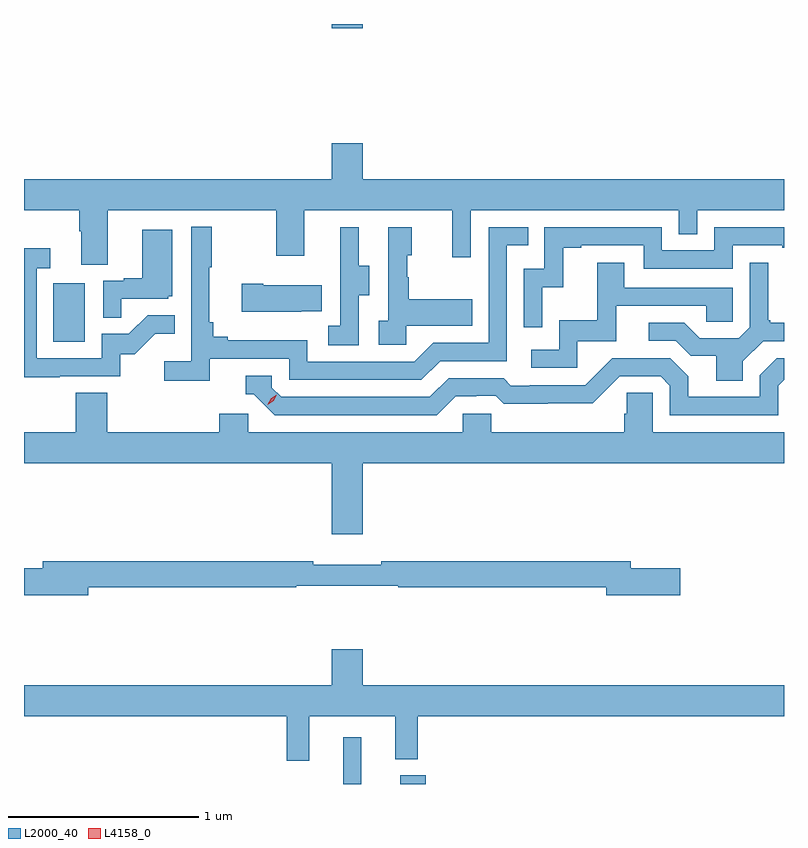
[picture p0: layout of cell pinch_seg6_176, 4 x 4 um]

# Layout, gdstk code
import gdstk
lib = gdstk.Library(unit=1e-6, precision=1e-09)
def R(c, l, rs):  # rectangles x0, y0, x1, y1
    for r in rs: c.add(gdstk.rectangle(r[:2], r[2:], *l))
def P(c, l, *ps):  # polygons
    for p in ps: c.add(gdstk.Polygon(p, *l))
L2000_40 = (2000, 40)
L4158_0 = (4158, 0)

pinch_seg6_176 = lib.new_cell('pinch_seg6_176')
R(pinch_seg6_176, L2000_40, [(1064.168,923.004,1064.265,923.251), (1064.468,923.004,1064.603,923.05), (1062.644,925.332,1062.808,925.639), (1064.108,926.982,1064.272,927.004)])
P(pinch_seg6_176, L2000_40, [(1062.931,926.024),(1063.816,926.024),(1063.816,925.785),(1063.963,925.785),(1063.963,926.024),(1064.744,926.024),(1064.744,925.776),(1064.841,925.776),(1064.841,926.024),(1065.936,926.024),(1065.936,925.897),(1066.032,925.897),(1066.032,926.024),(1066.489,926.024),(1066.489,926.188),(1064.272,926.188),(1064.272,926.377),(1064.108,926.377),(1064.108,926.188),(1062.489,926.188),(1062.489,926.024),(1062.779,926.024),(1062.779,925.912),(1062.791,925.912),(1062.791,925.738),(1062.931,925.738)],
  [(1063.466,925.242),(1063.884,925.242),(1063.884,925.131),(1064.581,925.131),(1064.68,925.23),(1065.03,925.23),(1065.03,925.839),(1065.143,925.839),(1065.143,925.935),(1064.934,925.935),(1064.934,925.326),(1064.643,925.326),(1064.544,925.227),(1063.98,925.227),(1063.98,925.339),(1063.561,925.339),(1063.561,925.358),(1063.484,925.358),(1063.484,925.435),(1063.465,925.435),(1063.465,925.723),(1063.477,925.723),(1063.477,925.936),(1063.368,925.936),(1063.368,925.228),(1063.227,925.228),(1063.227,925.126),(1063.466,925.126)],
  [(1065.216,925.619),(1065.326,925.619),(1065.326,925.827),(1065.421,925.827),(1065.421,925.839),(1065.75,925.839),(1065.75,925.716),(1066.218,925.716),(1066.218,925.839),(1066.481,925.839),(1066.481,925.827),(1066.489,925.827),(1066.489,925.935),(1066.122,925.935),(1066.122,925.812),(1065.846,925.812),(1065.846,925.935),(1065.228,925.935),(1065.228,925.716),(1065.12,925.716),(1065.12,925.407),(1065.216,925.407)],
  [(1064.25,925.576),(1064.305,925.576),(1064.305,925.731),(1064.251,925.731),(1064.251,925.933),(1064.153,925.933),(1064.153,925.719),(1064.154,925.719),(1064.154,925.415),(1064.091,925.415),(1064.091,925.312),(1064.25,925.312)],
  [(1064.502,925.415),(1064.849,925.415),(1064.849,925.555),(1064.515,925.555),(1064.515,925.67),(1064.505,925.67),(1064.505,925.788),(1064.53,925.788),(1064.53,925.933),(1064.406,925.933),(1064.406,925.442),(1064.355,925.442),(1064.355,925.317),(1064.502,925.317)],
  [(1063.001,925.557),(1063.248,925.557),(1063.248,925.572),(1063.27,925.572),(1063.27,925.921),(1063.112,925.921),(1063.112,925.666),(1063.013,925.666),(1063.013,925.653),(1062.906,925.653),(1062.906,925.459),(1063.001,925.459)],
  [(1062.677,925.149),(1062.996,925.149),(1062.996,925.266),(1063.072,925.266),(1063.179,925.373),(1063.283,925.373),(1063.283,925.472),(1063.139,925.472),(1063.041,925.374),(1062.897,925.374),(1062.897,925.245),(1062.555,925.245),(1062.555,925.719),(1062.628,925.719),(1062.628,925.825),(1062.489,925.825),(1062.489,925.144),(1062.677,925.144)],
  [(1066.273,925.228),(1066.38,925.335),(1066.489,925.335),(1066.489,925.432),(1066.417,925.432),(1066.417,925.444),(1066.405,925.444),(1066.405,925.747),(1066.308,925.747),(1066.308,925.407),(1066.251,925.35),(1066.045,925.35),(1065.964,925.431),(1065.777,925.431),(1065.777,925.338),(1065.918,925.338),(1065.998,925.258),(1066.133,925.258),(1066.133,925.126),(1066.273,925.126)],
  [(1065.402,925.335),(1065.607,925.335),(1065.607,925.521),(1066.081,925.521),(1066.081,925.437),(1066.218,925.437),(1066.218,925.617),(1065.649,925.617),(1065.649,925.747),(1065.505,925.747),(1065.505,925.444),(1065.306,925.444),(1065.306,925.29),(1065.159,925.29),(1065.159,925.194),(1065.402,925.194)],
  [(1063.949,925.493),(1064.057,925.493),(1064.057,925.63),(1063.747,925.63),(1063.747,925.638),(1063.635,925.638),(1063.635,925.49),(1063.949,925.49)],
  [(1064.761,925.044),(1064.868,925.044),(1064.868,925.047),(1064.971,925.047),(1065.013,925.005),(1065.246,925.005),(1065.246,925.007),(1065.482,925.007),(1065.624,925.149),(1065.84,925.149),(1065.888,925.101),(1065.888,924.945),(1066.458,924.945),(1066.458,925.101),(1066.489,925.132),(1066.489,925.245),(1066.452,925.245),(1066.362,925.155),(1066.362,925.041),(1065.985,925.041),(1065.985,925.151),(1065.891,925.245),(1065.585,925.245),(1065.444,925.104),(1065.151,925.104),(1065.151,925.101),(1065.052,925.101),(1065.013,925.14),(1064.724,925.14),(1064.625,925.041),(1063.842,925.041),(1063.794,925.089),(1063.794,925.152),(1063.655,925.152),(1063.655,925.056),(1063.698,925.056),(1063.809,924.945),(1064.662,924.945)],
  [(1064.272,924.692),(1066.489,924.692),(1066.489,924.856),(1065.798,924.856),(1065.798,925.064),(1065.661,925.064),(1065.661,924.954),(1065.647,924.954),(1065.647,924.856),(1064.949,924.856),(1064.949,924.954),(1064.799,924.954),(1064.799,924.856),(1063.668,924.856),(1063.668,924.954),(1063.517,924.954),(1063.517,924.856),(1062.926,924.856),(1062.926,925.064),(1062.761,925.064),(1062.761,924.856),(1062.489,924.856),(1062.489,924.692),(1064.108,924.692),(1064.108,924.318),(1064.272,924.318)],
  [(1062.826,924.04),(1063.922,924.04),(1063.922,924.048),(1064.458,924.048),(1064.458,924.04),(1065.554,924.04),(1065.554,923.998),(1065.943,923.998),(1065.943,924.14),(1065.682,924.14),(1065.682,924.176),(1064.368,924.176),(1064.368,924.157),(1064.012,924.157),(1064.012,924.176),(1062.587,924.176),(1062.587,924.14),(1062.489,924.14),(1062.489,923.998),(1062.826,923.998)],
  [(1063.991,923.36),(1064.444,923.36),(1064.444,923.135),(1064.561,923.135),(1064.561,923.36),(1066.489,923.36),(1066.489,923.524),(1064.272,923.524),(1064.272,923.713),(1064.108,923.713),(1064.108,923.524),(1062.489,923.524),(1062.489,923.36),(1063.873,923.36),(1063.873,923.127),(1063.991,923.127)])
P(pinch_seg6_176, L4158_0, [(1063.772,925.001),(1063.772,925.002),(1063.789,925.034),(1063.82,925.054),(1063.82,925.054),(1063.82,925.054),(1063.803,925.021),(1063.772,925.001)])

lib.write_gds('pinch_seg6_176.gds')
